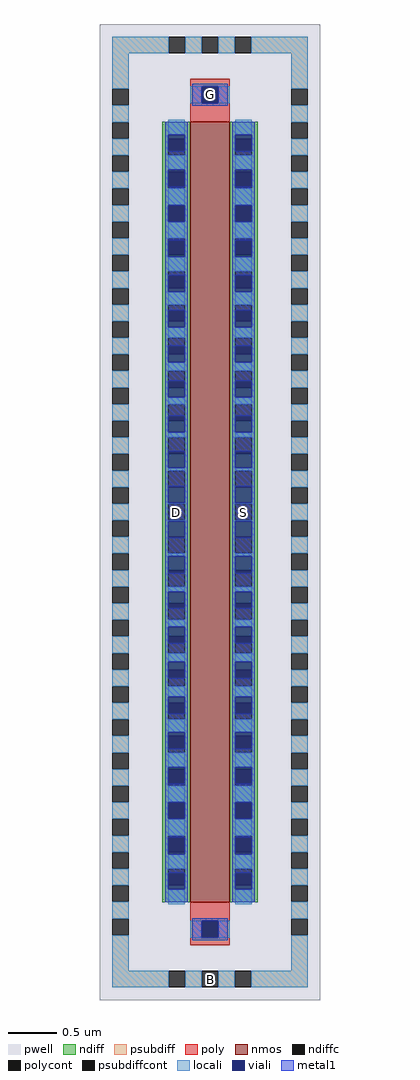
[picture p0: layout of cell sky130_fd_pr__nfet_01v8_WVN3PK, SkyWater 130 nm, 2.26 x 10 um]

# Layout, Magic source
magic
tech sky130A
magscale 1 2
<< pwell >>
rect -226 -1000 226 1000
<< nmos >>
rect -40 -800 40 800
<< ndiff >>
rect -98 765 -40 800
rect -98 731 -86 765
rect -52 731 -40 765
rect -98 697 -40 731
rect -98 663 -86 697
rect -52 663 -40 697
rect -98 629 -40 663
rect -98 595 -86 629
rect -52 595 -40 629
rect -98 561 -40 595
rect -98 527 -86 561
rect -52 527 -40 561
rect -98 493 -40 527
rect -98 459 -86 493
rect -52 459 -40 493
rect -98 425 -40 459
rect -98 391 -86 425
rect -52 391 -40 425
rect -98 357 -40 391
rect -98 323 -86 357
rect -52 323 -40 357
rect -98 289 -40 323
rect -98 255 -86 289
rect -52 255 -40 289
rect -98 221 -40 255
rect -98 187 -86 221
rect -52 187 -40 221
rect -98 153 -40 187
rect -98 119 -86 153
rect -52 119 -40 153
rect -98 85 -40 119
rect -98 51 -86 85
rect -52 51 -40 85
rect -98 17 -40 51
rect -98 -17 -86 17
rect -52 -17 -40 17
rect -98 -51 -40 -17
rect -98 -85 -86 -51
rect -52 -85 -40 -51
rect -98 -119 -40 -85
rect -98 -153 -86 -119
rect -52 -153 -40 -119
rect -98 -187 -40 -153
rect -98 -221 -86 -187
rect -52 -221 -40 -187
rect -98 -255 -40 -221
rect -98 -289 -86 -255
rect -52 -289 -40 -255
rect -98 -323 -40 -289
rect -98 -357 -86 -323
rect -52 -357 -40 -323
rect -98 -391 -40 -357
rect -98 -425 -86 -391
rect -52 -425 -40 -391
rect -98 -459 -40 -425
rect -98 -493 -86 -459
rect -52 -493 -40 -459
rect -98 -527 -40 -493
rect -98 -561 -86 -527
rect -52 -561 -40 -527
rect -98 -595 -40 -561
rect -98 -629 -86 -595
rect -52 -629 -40 -595
rect -98 -663 -40 -629
rect -98 -697 -86 -663
rect -52 -697 -40 -663
rect -98 -731 -40 -697
rect -98 -765 -86 -731
rect -52 -765 -40 -731
rect -98 -800 -40 -765
rect 40 765 98 800
rect 40 731 52 765
rect 86 731 98 765
rect 40 697 98 731
rect 40 663 52 697
rect 86 663 98 697
rect 40 629 98 663
rect 40 595 52 629
rect 86 595 98 629
rect 40 561 98 595
rect 40 527 52 561
rect 86 527 98 561
rect 40 493 98 527
rect 40 459 52 493
rect 86 459 98 493
rect 40 425 98 459
rect 40 391 52 425
rect 86 391 98 425
rect 40 357 98 391
rect 40 323 52 357
rect 86 323 98 357
rect 40 289 98 323
rect 40 255 52 289
rect 86 255 98 289
rect 40 221 98 255
rect 40 187 52 221
rect 86 187 98 221
rect 40 153 98 187
rect 40 119 52 153
rect 86 119 98 153
rect 40 85 98 119
rect 40 51 52 85
rect 86 51 98 85
rect 40 17 98 51
rect 40 -17 52 17
rect 86 -17 98 17
rect 40 -51 98 -17
rect 40 -85 52 -51
rect 86 -85 98 -51
rect 40 -119 98 -85
rect 40 -153 52 -119
rect 86 -153 98 -119
rect 40 -187 98 -153
rect 40 -221 52 -187
rect 86 -221 98 -187
rect 40 -255 98 -221
rect 40 -289 52 -255
rect 86 -289 98 -255
rect 40 -323 98 -289
rect 40 -357 52 -323
rect 86 -357 98 -323
rect 40 -391 98 -357
rect 40 -425 52 -391
rect 86 -425 98 -391
rect 40 -459 98 -425
rect 40 -493 52 -459
rect 86 -493 98 -459
rect 40 -527 98 -493
rect 40 -561 52 -527
rect 86 -561 98 -527
rect 40 -595 98 -561
rect 40 -629 52 -595
rect 86 -629 98 -595
rect 40 -663 98 -629
rect 40 -697 52 -663
rect 86 -697 98 -663
rect 40 -731 98 -697
rect 40 -765 52 -731
rect 86 -765 98 -731
rect 40 -800 98 -765
<< ndiffc >>
rect -86 731 -52 765
rect -86 663 -52 697
rect -86 595 -52 629
rect -86 527 -52 561
rect -86 459 -52 493
rect -86 391 -52 425
rect -86 323 -52 357
rect -86 255 -52 289
rect -86 187 -52 221
rect -86 119 -52 153
rect -86 51 -52 85
rect -86 -17 -52 17
rect -86 -85 -52 -51
rect -86 -153 -52 -119
rect -86 -221 -52 -187
rect -86 -289 -52 -255
rect -86 -357 -52 -323
rect -86 -425 -52 -391
rect -86 -493 -52 -459
rect -86 -561 -52 -527
rect -86 -629 -52 -595
rect -86 -697 -52 -663
rect -86 -765 -52 -731
rect 52 731 86 765
rect 52 663 86 697
rect 52 595 86 629
rect 52 527 86 561
rect 52 459 86 493
rect 52 391 86 425
rect 52 323 86 357
rect 52 255 86 289
rect 52 187 86 221
rect 52 119 86 153
rect 52 51 86 85
rect 52 -17 86 17
rect 52 -85 86 -51
rect 52 -153 86 -119
rect 52 -221 86 -187
rect 52 -289 86 -255
rect 52 -357 86 -323
rect 52 -425 86 -391
rect 52 -493 86 -459
rect 52 -561 86 -527
rect 52 -629 86 -595
rect 52 -697 86 -663
rect 52 -765 86 -731
<< psubdiff >>
rect -200 940 -85 974
rect -51 940 -17 974
rect 17 940 51 974
rect 85 940 200 974
rect -200 867 -166 940
rect -200 799 -166 833
rect 166 867 200 940
rect -200 731 -166 765
rect -200 663 -166 697
rect -200 595 -166 629
rect -200 527 -166 561
rect -200 459 -166 493
rect -200 391 -166 425
rect -200 323 -166 357
rect -200 255 -166 289
rect -200 187 -166 221
rect -200 119 -166 153
rect -200 51 -166 85
rect -200 -17 -166 17
rect -200 -85 -166 -51
rect -200 -153 -166 -119
rect -200 -221 -166 -187
rect -200 -289 -166 -255
rect -200 -357 -166 -323
rect -200 -425 -166 -391
rect -200 -493 -166 -459
rect -200 -561 -166 -527
rect -200 -629 -166 -595
rect -200 -697 -166 -663
rect -200 -765 -166 -731
rect -200 -833 -166 -799
rect 166 799 200 833
rect 166 731 200 765
rect 166 663 200 697
rect 166 595 200 629
rect 166 527 200 561
rect 166 459 200 493
rect 166 391 200 425
rect 166 323 200 357
rect 166 255 200 289
rect 166 187 200 221
rect 166 119 200 153
rect 166 51 200 85
rect 166 -17 200 17
rect 166 -85 200 -51
rect 166 -153 200 -119
rect 166 -221 200 -187
rect 166 -289 200 -255
rect 166 -357 200 -323
rect 166 -425 200 -391
rect 166 -493 200 -459
rect 166 -561 200 -527
rect 166 -629 200 -595
rect 166 -697 200 -663
rect 166 -765 200 -731
rect -200 -940 -166 -867
rect 166 -833 200 -799
rect 166 -940 200 -867
rect -200 -974 -85 -940
rect -51 -974 -17 -940
rect 17 -974 51 -940
rect 85 -974 200 -940
<< psubdiffcont >>
rect -85 940 -51 974
rect -17 940 17 974
rect 51 940 85 974
rect -200 833 -166 867
rect 166 833 200 867
rect -200 765 -166 799
rect -200 697 -166 731
rect -200 629 -166 663
rect -200 561 -166 595
rect -200 493 -166 527
rect -200 425 -166 459
rect -200 357 -166 391
rect -200 289 -166 323
rect -200 221 -166 255
rect -200 153 -166 187
rect -200 85 -166 119
rect -200 17 -166 51
rect -200 -51 -166 -17
rect -200 -119 -166 -85
rect -200 -187 -166 -153
rect -200 -255 -166 -221
rect -200 -323 -166 -289
rect -200 -391 -166 -357
rect -200 -459 -166 -425
rect -200 -527 -166 -493
rect -200 -595 -166 -561
rect -200 -663 -166 -629
rect -200 -731 -166 -697
rect -200 -799 -166 -765
rect 166 765 200 799
rect 166 697 200 731
rect 166 629 200 663
rect 166 561 200 595
rect 166 493 200 527
rect 166 425 200 459
rect 166 357 200 391
rect 166 289 200 323
rect 166 221 200 255
rect 166 153 200 187
rect 166 85 200 119
rect 166 17 200 51
rect 166 -51 200 -17
rect 166 -119 200 -85
rect 166 -187 200 -153
rect 166 -255 200 -221
rect 166 -323 200 -289
rect 166 -391 200 -357
rect 166 -459 200 -425
rect 166 -527 200 -493
rect 166 -595 200 -561
rect 166 -663 200 -629
rect 166 -731 200 -697
rect 166 -799 200 -765
rect -200 -867 -166 -833
rect 166 -867 200 -833
rect -85 -974 -51 -940
rect -17 -974 17 -940
rect 51 -974 85 -940
<< poly >>
rect -40 872 40 888
rect -40 838 -17 872
rect 17 838 40 872
rect -40 800 40 838
rect -40 -838 40 -800
rect -40 -872 -17 -838
rect 17 -872 40 -838
rect -40 -888 40 -872
<< polycont >>
rect -17 838 17 872
rect -17 -872 17 -838
<< locali >>
rect -200 940 -85 974
rect -51 940 -17 974
rect 17 940 51 974
rect 85 940 200 974
rect -200 867 -166 940
rect -40 838 -17 872
rect 17 838 40 872
rect 166 867 200 940
rect -200 799 -166 833
rect -200 731 -166 765
rect -200 663 -166 697
rect -200 595 -166 629
rect -200 527 -166 561
rect -200 459 -166 493
rect -200 391 -166 425
rect -200 323 -166 357
rect -200 255 -166 289
rect -200 187 -166 221
rect -200 119 -166 153
rect -200 51 -166 85
rect -200 -17 -166 17
rect -200 -85 -166 -51
rect -200 -153 -166 -119
rect -200 -221 -166 -187
rect -200 -289 -166 -255
rect -200 -357 -166 -323
rect -200 -425 -166 -391
rect -200 -493 -166 -459
rect -200 -561 -166 -527
rect -200 -629 -166 -595
rect -200 -697 -166 -663
rect -200 -765 -166 -731
rect -200 -833 -166 -799
rect -86 773 -52 804
rect -86 701 -52 731
rect -86 629 -52 663
rect -86 561 -52 595
rect -86 493 -52 523
rect -86 425 -52 451
rect -86 357 -52 379
rect -86 289 -52 307
rect -86 221 -52 235
rect -86 153 -52 163
rect -86 85 -52 91
rect -86 17 -52 19
rect -86 -19 -52 -17
rect -86 -91 -52 -85
rect -86 -163 -52 -153
rect -86 -235 -52 -221
rect -86 -307 -52 -289
rect -86 -379 -52 -357
rect -86 -451 -52 -425
rect -86 -523 -52 -493
rect -86 -595 -52 -561
rect -86 -663 -52 -629
rect -86 -731 -52 -701
rect -86 -804 -52 -773
rect 52 773 86 804
rect 52 701 86 731
rect 52 629 86 663
rect 52 561 86 595
rect 52 493 86 523
rect 52 425 86 451
rect 52 357 86 379
rect 52 289 86 307
rect 52 221 86 235
rect 52 153 86 163
rect 52 85 86 91
rect 52 17 86 19
rect 52 -19 86 -17
rect 52 -91 86 -85
rect 52 -163 86 -153
rect 52 -235 86 -221
rect 52 -307 86 -289
rect 52 -379 86 -357
rect 52 -451 86 -425
rect 52 -523 86 -493
rect 52 -595 86 -561
rect 52 -663 86 -629
rect 52 -731 86 -701
rect 52 -804 86 -773
rect 166 799 200 833
rect 166 731 200 765
rect 166 663 200 697
rect 166 595 200 629
rect 166 527 200 561
rect 166 459 200 493
rect 166 391 200 425
rect 166 323 200 357
rect 166 255 200 289
rect 166 187 200 221
rect 166 119 200 153
rect 166 51 200 85
rect 166 -17 200 17
rect 166 -85 200 -51
rect 166 -153 200 -119
rect 166 -221 200 -187
rect 166 -289 200 -255
rect 166 -357 200 -323
rect 166 -425 200 -391
rect 166 -493 200 -459
rect 166 -561 200 -527
rect 166 -629 200 -595
rect 166 -697 200 -663
rect 166 -765 200 -731
rect 166 -833 200 -799
rect -200 -940 -166 -867
rect -40 -872 -17 -838
rect 17 -872 40 -838
rect 166 -940 200 -867
rect -200 -974 -85 -940
rect -51 -974 -17 -940
rect 17 -974 51 -940
rect 85 -974 200 -940
<< viali >>
rect -17 838 17 872
rect -86 765 -52 773
rect -86 739 -52 765
rect -86 697 -52 701
rect -86 667 -52 697
rect -86 595 -52 629
rect -86 527 -52 557
rect -86 523 -52 527
rect -86 459 -52 485
rect -86 451 -52 459
rect -86 391 -52 413
rect -86 379 -52 391
rect -86 323 -52 341
rect -86 307 -52 323
rect -86 255 -52 269
rect -86 235 -52 255
rect -86 187 -52 197
rect -86 163 -52 187
rect -86 119 -52 125
rect -86 91 -52 119
rect -86 51 -52 53
rect -86 19 -52 51
rect -86 -51 -52 -19
rect -86 -53 -52 -51
rect -86 -119 -52 -91
rect -86 -125 -52 -119
rect -86 -187 -52 -163
rect -86 -197 -52 -187
rect -86 -255 -52 -235
rect -86 -269 -52 -255
rect -86 -323 -52 -307
rect -86 -341 -52 -323
rect -86 -391 -52 -379
rect -86 -413 -52 -391
rect -86 -459 -52 -451
rect -86 -485 -52 -459
rect -86 -527 -52 -523
rect -86 -557 -52 -527
rect -86 -629 -52 -595
rect -86 -697 -52 -667
rect -86 -701 -52 -697
rect -86 -765 -52 -739
rect -86 -773 -52 -765
rect 52 765 86 773
rect 52 739 86 765
rect 52 697 86 701
rect 52 667 86 697
rect 52 595 86 629
rect 52 527 86 557
rect 52 523 86 527
rect 52 459 86 485
rect 52 451 86 459
rect 52 391 86 413
rect 52 379 86 391
rect 52 323 86 341
rect 52 307 86 323
rect 52 255 86 269
rect 52 235 86 255
rect 52 187 86 197
rect 52 163 86 187
rect 52 119 86 125
rect 52 91 86 119
rect 52 51 86 53
rect 52 19 86 51
rect 52 -51 86 -19
rect 52 -53 86 -51
rect 52 -119 86 -91
rect 52 -125 86 -119
rect 52 -187 86 -163
rect 52 -197 86 -187
rect 52 -255 86 -235
rect 52 -269 86 -255
rect 52 -323 86 -307
rect 52 -341 86 -323
rect 52 -391 86 -379
rect 52 -413 86 -391
rect 52 -459 86 -451
rect 52 -485 86 -459
rect 52 -527 86 -523
rect 52 -557 86 -527
rect 52 -629 86 -595
rect 52 -697 86 -667
rect 52 -701 86 -697
rect 52 -765 86 -739
rect 52 -773 86 -765
rect -17 -872 17 -838
<< metal1 >>
rect -36 872 36 878
rect -36 838 -17 872
rect 17 838 36 872
rect -36 832 36 838
rect -92 773 -46 800
rect -92 739 -86 773
rect -52 739 -46 773
rect -92 701 -46 739
rect -92 667 -86 701
rect -52 667 -46 701
rect -92 629 -46 667
rect -92 595 -86 629
rect -52 595 -46 629
rect -92 557 -46 595
rect -92 523 -86 557
rect -52 523 -46 557
rect -92 485 -46 523
rect -92 451 -86 485
rect -52 451 -46 485
rect -92 413 -46 451
rect -92 379 -86 413
rect -52 379 -46 413
rect -92 341 -46 379
rect -92 307 -86 341
rect -52 307 -46 341
rect -92 269 -46 307
rect -92 235 -86 269
rect -52 235 -46 269
rect -92 197 -46 235
rect -92 163 -86 197
rect -52 163 -46 197
rect -92 125 -46 163
rect -92 91 -86 125
rect -52 91 -46 125
rect -92 53 -46 91
rect -92 19 -86 53
rect -52 19 -46 53
rect -92 -19 -46 19
rect -92 -53 -86 -19
rect -52 -53 -46 -19
rect -92 -91 -46 -53
rect -92 -125 -86 -91
rect -52 -125 -46 -91
rect -92 -163 -46 -125
rect -92 -197 -86 -163
rect -52 -197 -46 -163
rect -92 -235 -46 -197
rect -92 -269 -86 -235
rect -52 -269 -46 -235
rect -92 -307 -46 -269
rect -92 -341 -86 -307
rect -52 -341 -46 -307
rect -92 -379 -46 -341
rect -92 -413 -86 -379
rect -52 -413 -46 -379
rect -92 -451 -46 -413
rect -92 -485 -86 -451
rect -52 -485 -46 -451
rect -92 -523 -46 -485
rect -92 -557 -86 -523
rect -52 -557 -46 -523
rect -92 -595 -46 -557
rect -92 -629 -86 -595
rect -52 -629 -46 -595
rect -92 -667 -46 -629
rect -92 -701 -86 -667
rect -52 -701 -46 -667
rect -92 -739 -46 -701
rect -92 -773 -86 -739
rect -52 -773 -46 -739
rect -92 -800 -46 -773
rect 46 773 92 800
rect 46 739 52 773
rect 86 739 92 773
rect 46 701 92 739
rect 46 667 52 701
rect 86 667 92 701
rect 46 629 92 667
rect 46 595 52 629
rect 86 595 92 629
rect 46 557 92 595
rect 46 523 52 557
rect 86 523 92 557
rect 46 485 92 523
rect 46 451 52 485
rect 86 451 92 485
rect 46 413 92 451
rect 46 379 52 413
rect 86 379 92 413
rect 46 341 92 379
rect 46 307 52 341
rect 86 307 92 341
rect 46 269 92 307
rect 46 235 52 269
rect 86 235 92 269
rect 46 197 92 235
rect 46 163 52 197
rect 86 163 92 197
rect 46 125 92 163
rect 46 91 52 125
rect 86 91 92 125
rect 46 53 92 91
rect 46 19 52 53
rect 86 19 92 53
rect 46 -19 92 19
rect 46 -53 52 -19
rect 86 -53 92 -19
rect 46 -91 92 -53
rect 46 -125 52 -91
rect 86 -125 92 -91
rect 46 -163 92 -125
rect 46 -197 52 -163
rect 86 -197 92 -163
rect 46 -235 92 -197
rect 46 -269 52 -235
rect 86 -269 92 -235
rect 46 -307 92 -269
rect 46 -341 52 -307
rect 86 -341 92 -307
rect 46 -379 92 -341
rect 46 -413 52 -379
rect 86 -413 92 -379
rect 46 -451 92 -413
rect 46 -485 52 -451
rect 86 -485 92 -451
rect 46 -523 92 -485
rect 46 -557 52 -523
rect 86 -557 92 -523
rect 46 -595 92 -557
rect 46 -629 52 -595
rect 86 -629 92 -595
rect 46 -667 92 -629
rect 46 -701 52 -667
rect 86 -701 92 -667
rect 46 -739 92 -701
rect 46 -773 52 -739
rect 86 -773 92 -739
rect 46 -800 92 -773
rect -36 -838 36 -832
rect -36 -872 -17 -838
rect 17 -872 36 -838
rect -36 -878 36 -872
<< labels >>
rlabel locali s 0 -957 0 -957 4 B
rlabel locali s -69 0 -69 0 4 D
rlabel locali s 69 0 69 0 4 S
rlabel locali s 0 855 0 855 4 G
<< properties >>
string FIXED_BBOX -183 -957 183 957
<< end >>
